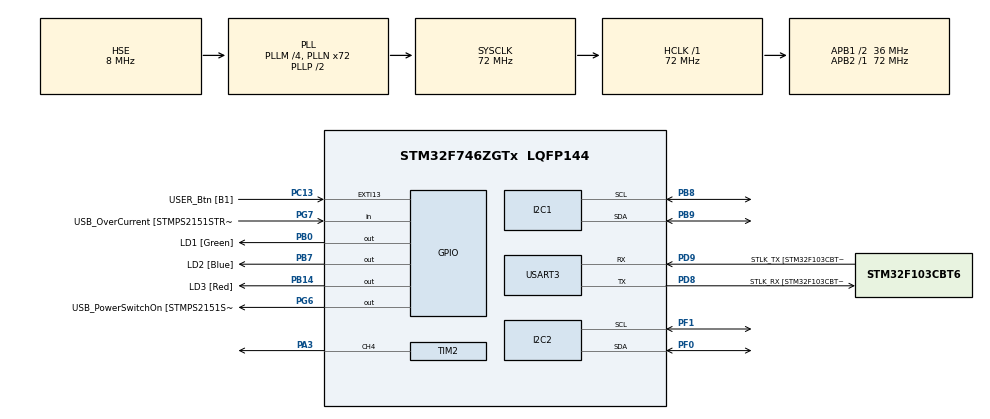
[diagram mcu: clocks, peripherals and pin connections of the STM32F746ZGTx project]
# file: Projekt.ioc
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I2C1.Timing=0x00808CD2
I2C2.Timing=0x00808CD2
Mcu.Family=STM32F7
Mcu.Name=STM32F746ZGTx
Mcu.Package=LQFP144
NVIC.PriorityGroup=NVIC_PRIORITYGROUP_4
PA1.GPIO_Label=RMII_REF_CLK [LAN8742A-CZ-TR_REFCLK0]
PA1.Signal=ETH_REF_CLK
PA10.GPIO_Label=USB_ID
PA10.Signal=USB_OTG_FS_ID
PA11.GPIO_Label=USB_DM
PA11.Signal=USB_OTG_FS_DM
PA12.GPIO_Label=USB_DP
PA12.Signal=USB_OTG_FS_DP
PA13.GPIO_Label=TMS
PA13.Mode=Serial_Wire
PA13.Signal=SYS_JTMS-SWDIO
PA14.GPIO_Label=TCK
PA14.Mode=Serial_Wire
PA14.Signal=SYS_JTCK-SWCLK
PA2.GPIO_Label=RMII_MDIO [LAN8742A-CZ-TR_MDIO]
PA2.Signal=ETH_MDIO
PA3.Signal=S_TIM2_CH4
PA7.GPIO_Label=RMII_CRS_DV [LAN8742A-CZ-TR_CRS_DV]
PA7.Signal=ETH_CRS_DV
PA8.GPIO_Label=USB_SOF [TP1]
PA8.Signal=USB_OTG_FS_SOF
PA9.GPIO_Label=USB_VBUS
PA9.Signal=USB_OTG_FS_VBUS
PB0.GPIO_Label=LD1 [Green]
PB0.Signal=GPIO_Output
PB13.GPIO_Label=RMII_TXD1 [LAN8742A-CZ-TR_TXD1]
PB13.Signal=ETH_TXD1
PB14.GPIO_Label=LD3 [Red]
PB14.Signal=GPIO_Output
PB3.GPIO_Label=SW0
PB3.Signal=SYS_JTDO-SWO
PB7.GPIO_Label=LD2 [Blue]
PB7.Signal=GPIO_Output
PB8.Mode=I2C
PB8.Signal=I2C1_SCL
PB9.Mode=I2C
PB9.Signal=I2C1_SDA
PC1.GPIO_Label=RMII_MDC [LAN8742A-CZ-TR_MDC]
PC1.Signal=ETH_MDC
PC13.GPIO_Label=USER_Btn [B1]
PC13.Signal=GPXTI13
PC14/OSC32_IN.Mode=LSE-External-Oscillator
PC14/OSC32_IN.Signal=RCC_OSC32_IN
PC15/OSC32_OUT.Mode=LSE-External-Oscillator
PC15/OSC32_OUT.Signal=RCC_OSC32_OUT
PC4.GPIO_Label=RMII_RXD0 [LAN8742A-CZ-TR_RXD0]
PC4.Signal=ETH_RXD0
PC5.GPIO_Label=RMII_RXD1 [LAN8742A-CZ-TR_RXD1]
PC5.Signal=ETH_RXD1
PD8.GPIO_Label=STLK_RX [STM32F103CBT6_PA3]
PD8.Mode=Asynchronous
PD8.Signal=USART3_TX
PD9.GPIO_Label=STLK_TX [STM32F103CBT6_PA2]
PD9.Mode=Asynchronous
PD9.Signal=USART3_RX
PF0.Mode=I2C
PF0.Signal=I2C2_SDA
PF1.Mode=I2C
PF1.Signal=I2C2_SCL
PG11.GPIO_Label=RMII_TX_EN [LAN8742A-CZ-TR_TXEN]
PG11.Signal=ETH_TX_EN
PG13.GPIO_Label=RMII_TXD0 [LAN8742A-CZ-TR_TXD0]
PG13.Signal=ETH_TXD0
PG6.GPIO_Label=USB_PowerSwitchOn [STMPS2151STR_EN]
PG6.Signal=GPIO_Output
PG7.GPIO_Label=USB_OverCurrent [STMPS2151STR_FAULT]
PG7.Signal=GPIO_Input
PH0/OSC_IN.GPIO_Label=MCO [STM32F103CBT6_PA8]
PH0/OSC_IN.Mode=HSE-External-Clock-Source
PH0/OSC_IN.Signal=RCC_OSC_IN
PH1/OSC_OUT.Mode=HSE-External-Clock-Source
PH1/OSC_OUT.Signal=RCC_OSC_OUT
ProjectManager.HeapSize=0x200
ProjectManager.StackSize=0x400
ProjectManager.TargetToolchain=STM32CubeIDE
RCC.48MHZClocksFreq_Value=24000000
RCC.AHBFreq_Value=72000000
RCC.APB1CLKDivider=RCC_HCLK_DIV2
RCC.APB1Freq_Value=36000000
RCC.APB1TimFreq_Value=72000000
RCC.APB2Freq_Value=72000000
RCC.APB2TimFreq_Value=72000000
RCC.CortexFreq_Value=72000000
RCC.HCLKFreq_Value=72000000
RCC.HSE_VALUE=8000000
RCC.HSI_VALUE=16000000
RCC.PLLM=4
RCC.PLLMUL=RCC_PLL_MUL9
RCC.PLLN=72
RCC.PLLQ=3
RCC.PLLSourceVirtual=RCC_PLLSOURCE_HSE
RCC.PRESCALERUSB=RCC_USBCLKSOURCE_PLL_DIV1_5
RCC.SYSCLKFreq_VALUE=72000000
RCC.SYSCLKSource=RCC_SYSCLKSOURCE_PLLCLK
RCC.SYSCLKSourceVirtual=RCC_SYSCLKSOURCE_PLLCLK
RCC.USBFreq_Value=48000000
RCC.VCOOutputFreq_Value=144000000
SH.S_TIM2_CH4.0=TIM2_CH4,PWM Generation4 CH4
TIM2.AutoReloadPreload=TIM_AUTORELOAD_PRELOAD_ENABLE
TIM2.Channel-PWM\ Generation4\ CH4=TIM_CHANNEL_4
TIM2.Period=999
TIM2.Prescaler=71
USART3.VirtualMode-Asynchronous=VM_ASYNC
VP_TIM2_VS_ClockSourceINT.Mode=Internal
board=NUCLEO-F746ZG

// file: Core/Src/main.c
/* USER CODE BEGIN Header */
/**
  ******************************************************************************
  * @file           : main.c
  * @brief          : Main program body
  ******************************************************************************
  * @attention
  *
  * Copyright (c) 2022 STMicroelectronics.
  * All rights reserved.
  *
  * This software is licensed under terms that can be found in the LICENSE file
  * in the root directory of this software component.
  * If no LICENSE file comes with this software, it is provided AS-IS.
  *
  ******************************************************************************
  */
/* USER CODE END Header */
#include "main.h"

/* USER CODE BEGIN Includes */
#include "BMPXX80.h"
#include "lcd_i2c.h"
#include <stdio.h>
#include <string.h>

/* USER CODE END Includes */

I2C_HandleTypeDef hi2c1;
I2C_HandleTypeDef hi2c2;

TIM_HandleTypeDef htim2;

UART_HandleTypeDef huart3;

/* USER CODE BEGIN PV */
float Temperature_measured;
float Temperature_setpoint = 28;
int32_t Pressure;
struct lcd_disp LCD;

float Kp = 0.139;
float Ki = 0.00065;
float Kd = 3.166;
float dt = 1.0;
int previous_error = 0;
int previous_integral = 0;
float iPID(float iTemperature_measured, float iTemperature_setpoint);

/* USER CODE END PV */

void SystemClock_Config(void);
static void MX_GPIO_Init(void);
static void MX_USART3_UART_Init(void);
static void MX_I2C1_Init(void);
static void MX_I2C2_Init(void);
static void MX_TIM2_Init(void);

int main(void)
{
  /* USER CODE BEGIN 1 */
  #define MAX_LENGTH 30
  char text[MAX_LENGTH];

  /* USER CODE END 1 */

  /* MCU Configuration--------------------------------------------------------*/

  /* Reset of all peripherals, Initializes the Flash interface and the Systick. */
  HAL_Init();

  /* Configure the system clock */
  SystemClock_Config();

  /* Initialize all configured peripherals */
  MX_GPIO_Init();
  MX_USART3_UART_Init();
  MX_I2C1_Init();
  MX_I2C2_Init();
  MX_TIM2_Init();
  /* USER CODE BEGIN 2 */
  HAL_TIM_PWM_Start(&htim2, TIM_CHANNEL_4);
  BMP280_Init(&hi2c1, BMP280_TEMPERATURE_16BIT, BMP280_STANDARD, BMP280_FORCEDMODE);
  LCD.addr = (0x27 << 1);
  LCD.bl = true;
  lcd_init(&LCD);
  /* USER CODE END 2 */

  /* Infinite loop */
  while (1)
  {

    /* USER CODE BEGIN 3 */
	BMP280_ReadTemperatureAndPressure(&Temperature_measured, &Pressure);
	if(Temperature_measured != -99)
	{
		float fPWM_Duty = 0.0;
		uint16_t PWM_Duty = 0;

		if(Temperature_measured < Temperature_setpoint)
		{
			HAL_GPIO_WritePin(LD1_GPIO_Port, LD1_Pin, GPIO_PIN_RESET);
			HAL_GPIO_WritePin(LD2_GPIO_Port, LD2_Pin, GPIO_PIN_RESET);
			HAL_GPIO_WritePin(LD3_GPIO_Port, LD3_Pin, GPIO_PIN_SET);
		}
		else if(Temperature_measured > Temperature_setpoint)
		{
			HAL_GPIO_WritePin(LD1_GPIO_Port, LD1_Pin, GPIO_PIN_RESET);
			HAL_GPIO_WritePin(LD2_GPIO_Port, LD2_Pin, GPIO_PIN_SET);
			HAL_GPIO_WritePin(LD3_GPIO_Port, LD3_Pin, GPIO_PIN_RESET);
		}
		else
		{
			HAL_GPIO_WritePin(LD1_GPIO_Port, LD1_Pin, GPIO_PIN_SET);
			HAL_GPIO_WritePin(LD2_GPIO_Port, LD2_Pin, GPIO_PIN_RESET);
			HAL_GPIO_WritePin(LD3_GPIO_Port, LD3_Pin, GPIO_PIN_RESET);
		}
		sprintf((char *)LCD.f_line, "Temp: %.2f C", Temperature_measured);
		sprintf((char *)LCD.s_line, "T_zad: %.2f C", Temperature_setpoint);

		fPWM_Duty = (999.0*iPID(Temperature_measured, Temperature_setpoint));
		if(fPWM_Duty < 0.0)
		{
			PWM_Duty = 0;
		}
		else if(fPWM_Duty > 999.0)
		{
			PWM_Duty = 999;
		}
		else
		{
			PWM_Duty = (uint16_t)fPWM_Duty;
		}
		__HAL_TIM_SET_COMPARE(&htim2, TIM_CHANNEL_4, PWM_Duty);
	}
	else
	{
		HAL_GPIO_WritePin(LD1_GPIO_Port, LD1_Pin, GPIO_PIN_SET);
		HAL_GPIO_WritePin(LD2_GPIO_Port, LD2_Pin, GPIO_PIN_SET);
		HAL_GPIO_WritePin(LD3_GPIO_Port, LD3_Pin, GPIO_PIN_SET);
		sprintf((char *)LCD.f_line, "Blad odczytu");
		sprintf((char *)LCD.s_line, "temperatury");
	}
	lcd_display(&LCD);
	HAL_Delay(1000);
	lcd_clear(&LCD);
	sprintf((char*)text, "%.2f, ", Temperature_measured);
	HAL_UART_Transmit(&huart3, (uint8_t*)text, strlen(text), 1000);
  }
  /* USER CODE END 3 */
}

void SystemClock_Config(void)
{
  RCC_OscInitTypeDef RCC_OscInitStruct = {0};
  RCC_ClkInitTypeDef RCC_ClkInitStruct = {0};

  /** Configure LSE Drive Capability
  */
  HAL_PWR_EnableBkUpAccess();
  /** Configure the main internal regulator output voltage
  */
  __HAL_RCC_PWR_CLK_ENABLE();
  __HAL_PWR_VOLTAGESCALING_CONFIG(PWR_REGULATOR_VOLTAGE_SCALE3);
  /** Initializes the RCC Oscillators according to the specified parameters
  * in the RCC_OscInitTypeDef structure.
  */
  RCC_OscInitStruct.OscillatorType = RCC_OSCILLATORTYPE_HSE;
  RCC_OscInitStruct.HSEState = RCC_HSE_BYPASS;
  RCC_OscInitStruct.PLL.PLLState = RCC_PLL_ON;
  RCC_OscInitStruct.PLL.PLLSource = RCC_PLLSOURCE_HSE;
  RCC_OscInitStruct.PLL.PLLM = 4;
  RCC_OscInitStruct.PLL.PLLN = 72;
  RCC_OscInitStruct.PLL.PLLP = RCC_PLLP_DIV2;
  RCC_OscInitStruct.PLL.PLLQ = 3;
  if (HAL_RCC_OscConfig(&RCC_OscInitStruct) != HAL_OK)
  {
    Error_Handler();
  }
  /** Initializes the CPU, AHB and APB buses clocks
  */
  RCC_ClkInitStruct.ClockType = RCC_CLOCKTYPE_HCLK|RCC_CLOCKTYPE_SYSCLK
                              |RCC_CLOCKTYPE_PCLK1|RCC_CLOCKTYPE_PCLK2;
  RCC_ClkInitStruct.SYSCLKSource = RCC_SYSCLKSOURCE_PLLCLK;
  RCC_ClkInitStruct.AHBCLKDivider = RCC_SYSCLK_DIV1;
  RCC_ClkInitStruct.APB1CLKDivider = RCC_HCLK_DIV2;
  RCC_ClkInitStruct.APB2CLKDivider = RCC_HCLK_DIV1;

  if (HAL_RCC_ClockConfig(&RCC_ClkInitStruct, FLASH_LATENCY_2) != HAL_OK)
  {
    Error_Handler();
  }
}

static void MX_I2C1_Init(void)
{

  hi2c1.Instance = I2C1;
  hi2c1.Init.Timing = 0x00808CD2;
  hi2c1.Init.OwnAddress1 = 0;
  hi2c1.Init.AddressingMode = I2C_ADDRESSINGMODE_7BIT;
  hi2c1.Init.DualAddressMode = I2C_DUALADDRESS_DISABLE;
  hi2c1.Init.OwnAddress2 = 0;
  hi2c1.Init.OwnAddress2Masks = I2C_OA2_NOMASK;
  hi2c1.Init.GeneralCallMode = I2C_GENERALCALL_DISABLE;
  hi2c1.Init.NoStretchMode = I2C_NOSTRETCH_DISABLE;
  if (HAL_I2C_Init(&hi2c1) != HAL_OK)
  {
    Error_Handler();
  }
  /** Configure Analogue filter
  */
  if (HAL_I2CEx_ConfigAnalogFilter(&hi2c1, I2C_ANALOGFILTER_ENABLE) != HAL_OK)
  {
    Error_Handler();
  }
  /** Configure Digital filter
  */
  if (HAL_I2CEx_ConfigDigitalFilter(&hi2c1, 0) != HAL_OK)
  {
    Error_Handler();
  }

}

static void MX_I2C2_Init(void)
{

  hi2c2.Instance = I2C2;
  hi2c2.Init.Timing = 0x00808CD2;
  hi2c2.Init.OwnAddress1 = 0;
  hi2c2.Init.AddressingMode = I2C_ADDRESSINGMODE_7BIT;
  hi2c2.Init.DualAddressMode = I2C_DUALADDRESS_DISABLE;
  hi2c2.Init.OwnAddress2 = 0;
  hi2c2.Init.OwnAddress2Masks = I2C_OA2_NOMASK;
  hi2c2.Init.GeneralCallMode = I2C_GENERALCALL_DISABLE;
  hi2c2.Init.NoStretchMode = I2C_NOSTRETCH_DISABLE;
  if (HAL_I2C_Init(&hi2c2) != HAL_OK)
  {
    Error_Handler();
  }
  /** Configure Analogue filter
  */
  if (HAL_I2CEx_ConfigAnalogFilter(&hi2c2, I2C_ANALOGFILTER_ENABLE) != HAL_OK)
  {
    Error_Handler();
  }
  /** Configure Digital filter
  */
  if (HAL_I2CEx_ConfigDigitalFilter(&hi2c2, 0) != HAL_OK)
  {
    Error_Handler();
  }

}

static void MX_TIM2_Init(void)
{

  TIM_ClockConfigTypeDef sClockSourceConfig = {0};
  TIM_MasterConfigTypeDef sMasterConfig = {0};
  TIM_OC_InitTypeDef sConfigOC = {0};

  htim2.Instance = TIM2;
  htim2.Init.Prescaler = 71;
  htim2.Init.CounterMode = TIM_COUNTERMODE_UP;
  htim2.Init.Period = 999;
  htim2.Init.ClockDivision = TIM_CLOCKDIVISION_DIV1;
  htim2.Init.AutoReloadPreload = TIM_AUTORELOAD_PRELOAD_ENABLE;
  if (HAL_TIM_Base_Init(&htim2) != HAL_OK)
  {
    Error_Handler();
  }
  sClockSourceConfig.ClockSource = TIM_CLOCKSOURCE_INTERNAL;
  if (HAL_TIM_ConfigClockSource(&htim2, &sClockSourceConfig) != HAL_OK)
  {
    Error_Handler();
  }
  if (HAL_TIM_PWM_Init(&htim2) != HAL_OK)
  {
    Error_Handler();
  }
  sMasterConfig.MasterOutputTrigger = TIM_TRGO_RESET;
  sMasterConfig.MasterSlaveMode = TIM_MASTERSLAVEMODE_DISABLE;
  if (HAL_TIMEx_MasterConfigSynchronization(&htim2, &sMasterConfig) != HAL_OK)
  {
    Error_Handler();
  }
  sConfigOC.OCMode = TIM_OCMODE_PWM1;
  sConfigOC.Pulse = 0;
  sConfigOC.OCPolarity = TIM_OCPOLARITY_HIGH;
  sConfigOC.OCFastMode = TIM_OCFAST_DISABLE;
  if (HAL_TIM_PWM_ConfigChannel(&htim2, &sConfigOC, TIM_CHANNEL_4) != HAL_OK)
  {
    Error_Handler();
  }
  HAL_TIM_MspPostInit(&htim2);

}

static void MX_USART3_UART_Init(void)
{

  huart3.Instance = USART3;
  huart3.Init.BaudRate = 115200;
  huart3.Init.WordLength = UART_WORDLENGTH_8B;
  huart3.Init.StopBits = UART_STOPBITS_1;
  huart3.Init.Parity = UART_PARITY_NONE;
  huart3.Init.Mode = UART_MODE_TX_RX;
  huart3.Init.HwFlowCtl = UART_HWCONTROL_NONE;
  huart3.Init.OverSampling = UART_OVERSAMPLING_16;
  huart3.Init.OneBitSampling = UART_ONE_BIT_SAMPLE_DISABLE;
  huart3.AdvancedInit.AdvFeatureInit = UART_ADVFEATURE_NO_INIT;
  if (HAL_UART_Init(&huart3) != HAL_OK)
  {
    Error_Handler();
  }

}

static void MX_GPIO_Init(void)
{
  GPIO_InitTypeDef GPIO_InitStruct = {0};

  /* GPIO Ports Clock Enable */
  __HAL_RCC_GPIOC_CLK_ENABLE();
  __HAL_RCC_GPIOF_CLK_ENABLE();
  __HAL_RCC_GPIOH_CLK_ENABLE();
  __HAL_RCC_GPIOA_CLK_ENABLE();
  __HAL_RCC_GPIOB_CLK_ENABLE();
  __HAL_RCC_GPIOD_CLK_ENABLE();
  __HAL_RCC_GPIOG_CLK_ENABLE();

  /*Configure GPIO pin Output Level */
  HAL_GPIO_WritePin(GPIOB, LD1_Pin|LD3_Pin|LD2_Pin, GPIO_PIN_RESET);

  /*Configure GPIO pin Output Level */
  HAL_GPIO_WritePin(USB_PowerSwitchOn_GPIO_Port, USB_PowerSwitchOn_Pin, GPIO_PIN_RESET);

  /*Configure GPIO pin : USER_Btn_Pin */
  GPIO_InitStruct.Pin = USER_Btn_Pin;
  GPIO_InitStruct.Mode = GPIO_MODE_IT_RISING;
  GPIO_InitStruct.Pull = GPIO_NOPULL;
  HAL_GPIO_Init(USER_Btn_GPIO_Port, &GPIO_InitStruct);

  /*Configure GPIO pins : RMII_MDC_Pin RMII_RXD0_Pin RMII_RXD1_Pin */
  GPIO_InitStruct.Pin = RMII_MDC_Pin|RMII_RXD0_Pin|RMII_RXD1_Pin;
  GPIO_InitStruct.Mode = GPIO_MODE_AF_PP;
  GPIO_InitStruct.Pull = GPIO_NOPULL;
  GPIO_InitStruct.Speed = GPIO_SPEED_FREQ_VERY_HIGH;
  GPIO_InitStruct.Alternate = GPIO_AF11_ETH;
  HAL_GPIO_Init(GPIOC, &GPIO_InitStruct);

  /*Configure GPIO pins : RMII_REF_CLK_Pin RMII_MDIO_Pin RMII_CRS_DV_Pin */
  GPIO_InitStruct.Pin = RMII_REF_CLK_Pin|RMII_MDIO_Pin|RMII_CRS_DV_Pin;
  GPIO_InitStruct.Mode = GPIO_MODE_AF_PP;
  GPIO_InitStruct.Pull = GPIO_NOPULL;
  GPIO_InitStruct.Speed = GPIO_SPEED_FREQ_VERY_HIGH;
  GPIO_InitStruct.Alternate = GPIO_AF11_ETH;
  HAL_GPIO_Init(GPIOA, &GPIO_InitStruct);

  /*Configure GPIO pins : LD1_Pin LD3_Pin LD2_Pin */
  GPIO_InitStruct.Pin = LD1_Pin|LD3_Pin|LD2_Pin;
  GPIO_InitStruct.Mode = GPIO_MODE_OUTPUT_PP;
  GPIO_InitStruct.Pull = GPIO_NOPULL;
  GPIO_InitStruct.Speed = GPIO_SPEED_FREQ_LOW;
  HAL_GPIO_Init(GPIOB, &GPIO_InitStruct);

  /*Configure GPIO pin : RMII_TXD1_Pin */
  GPIO_InitStruct.Pin = RMII_TXD1_Pin;
  GPIO_InitStruct.Mode = GPIO_MODE_AF_PP;
  GPIO_InitStruct.Pull = GPIO_NOPULL;
  GPIO_InitStruct.Speed = GPIO_SPEED_FREQ_VERY_HIGH;
  GPIO_InitStruct.Alternate = GPIO_AF11_ETH;
  HAL_GPIO_Init(RMII_TXD1_GPIO_Port, &GPIO_InitStruct);

  /*Configure GPIO pin : USB_PowerSwitchOn_Pin */
  GPIO_InitStruct.Pin = USB_PowerSwitchOn_Pin;
  GPIO_InitStruct.Mode = GPIO_MODE_OUTPUT_PP;
  GPIO_InitStruct.Pull = GPIO_NOPULL;
  GPIO_InitStruct.Speed = GPIO_SPEED_FREQ_LOW;
  HAL_GPIO_Init(USB_PowerSwitchOn_GPIO_Port, &GPIO_InitStruct);

  /*Configure GPIO pin : USB_OverCurrent_Pin */
  GPIO_InitStruct.Pin = USB_OverCurrent_Pin;
  GPIO_InitStruct.Mode = GPIO_MODE_INPUT;
  GPIO_InitStruct.Pull = GPIO_NOPULL;
  HAL_GPIO_Init(USB_OverCurrent_GPIO_Port, &GPIO_InitStruct);

  /*Configure GPIO pins : USB_SOF_Pin USB_ID_Pin USB_DM_Pin USB_DP_Pin */
  GPIO_InitStruct.Pin = USB_SOF_Pin|USB_ID_Pin|USB_DM_Pin|USB_DP_Pin;
  GPIO_InitStruct.Mode = GPIO_MODE_AF_PP;
  GPIO_InitStruct.Pull = GPIO_NOPULL;
  GPIO_InitStruct.Speed = GPIO_SPEED_FREQ_VERY_HIGH;
  GPIO_InitStruct.Alternate = GPIO_AF10_OTG_FS;
  HAL_GPIO_Init(GPIOA, &GPIO_InitStruct);

  /*Configure GPIO pin : USB_VBUS_Pin */
  GPIO_InitStruct.Pin = USB_VBUS_Pin;
  GPIO_InitStruct.Mode = GPIO_MODE_INPUT;
  GPIO_InitStruct.Pull = GPIO_NOPULL;
  HAL_GPIO_Init(USB_VBUS_GPIO_Port, &GPIO_InitStruct);

  /*Configure GPIO pins : RMII_TX_EN_Pin RMII_TXD0_Pin */
  GPIO_InitStruct.Pin = RMII_TX_EN_Pin|RMII_TXD0_Pin;
  GPIO_InitStruct.Mode = GPIO_MODE_AF_PP;
  GPIO_InitStruct.Pull = GPIO_NOPULL;
  GPIO_InitStruct.Speed = GPIO_SPEED_FREQ_VERY_HIGH;
  GPIO_InitStruct.Alternate = GPIO_AF11_ETH;
  HAL_GPIO_Init(GPIOG, &GPIO_InitStruct);

}

/* USER CODE BEGIN 4 */
float iPID(float iTemperature_measured, float iTemperature_setpoint)
{
	float u = 0, P, I, D, error, integral, derivative;
	error = iTemperature_setpoint - iTemperature_measured;
	integral = previous_integral + (error + previous_error);
	derivative = (error - previous_error)/dt;

	previous_error = error;
	previous_integral = integral;

	P = Kp*error;
	I = Ki*integral*(dt/2);
	D = Kd*derivative;

	u = P + I + D;
	return u;
}
/* USER CODE END 4 */

void Error_Handler(void)
{
  __disable_irq();
  while (1)
  {
  }
}
